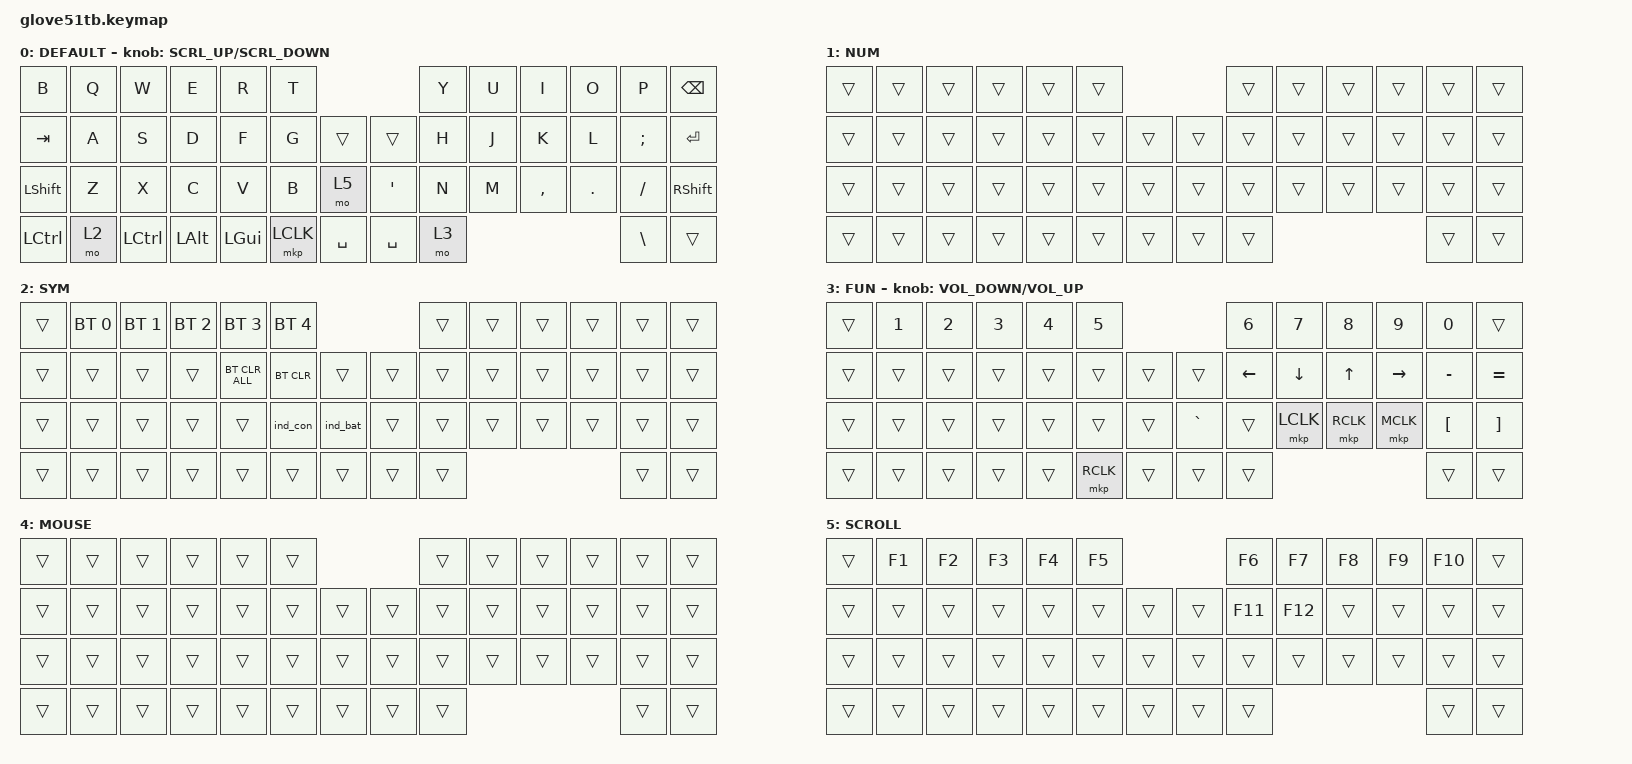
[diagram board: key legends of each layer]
#define ZMK_POINTING_DEFAULT_SCRL_VAL 150

#include <behaviors/rgbled_widget.dtsi>
#include <dt-bindings/zmk/input_transform.h>
#include <input/processors.dtsi>
#include <zephyr/dt-bindings/input/input-event-codes.h>
#include <behaviors.dtsi>
#include <dt-bindings/zmk/bt.h>
#include <dt-bindings/zmk/keys.h>
#include <dt-bindings/zmk/pointing.h>

// Layer Numbering

#define DEFAULT 0
#define NUM     1
#define SYM     2
#define FUN     3
#define MOUSE   4
#define SCROLL  5

&mmv {
    delay-ms = <20>;
    trigger-period-ms = <5>;
    time-to-max-speed-ms = <100>;
    acceleration-exponent = <2>;
};

&msc {
    delay-ms = <3>;
    trigger-period-ms = <3>;
    time-to-max-speed-ms = <100>;
    acceleration-exponent = <0>;
};

/ {
    input_processors {
        zip_wheel_scaler: zip_wheel_scaler {
            compatible = "zmk,input-processor-scaler";
            #input-processor-cells = <2>;
            type = <INPUT_EV_REL>;
            codes = <INPUT_REL_WHEEL>;
            track-remainders;
        };
    };
};

/ {
    combos {
        compatible = "zmk,combos";

        scroll {
            bindings = <&mo 5>;
            key-positions = <35 36>;
        };
    };

    behaviors {
        sensor_rotate_kp: sensor_rotate_kp {
            compatible = "zmk,behavior-sensor-rotate-var";
            #sensor-binding-cells = <2>;
            bindings = <&kp>, <&kp>;
        };

        mouse_wheel_scroll: mouse_wheel_scroll {
            compatible = "zmk,behavior-sensor-rotate-var";
            #sensor-binding-cells = <2>;
            bindings = <&msc>, <&msc>;

            tap-ms = <20>;
        };
    };

    keymap {
        compatible = "zmk,keymap";

        default_layer {
            label = "DEFAULT";
            bindings = <
&kp B             &kp Q  &kp W             &kp E         &kp R         &kp T                                   &kp Y  &kp U  &kp I      &kp O    &kp P          &kp BSPC
&kp TAB           &kp A  &kp S             &kp D         &kp F         &kp G      &trans     &trans            &kp H  &kp J  &kp K      &kp L    &kp SEMI       &kp RETURN
&kp LEFT_SHIFT    &kp Z  &kp X             &kp C         &kp V         &kp B      &mo 5      &kp SINGLE_QUOTE  &kp N  &kp M  &kp COMMA  &kp DOT  &kp FSLH       &kp RIGHT_SHIFT
&kp LEFT_CONTROL  &mo 2  &kp LEFT_CONTROL  &kp LEFT_ALT  &kp LEFT_GUI  &mkp LCLK  &kp SPACE  &kp SPACE         &mo 3                             &kp BACKSLASH  &trans
            >;

            sensor-bindings = <&mouse_wheel_scroll SCRL_UP SCRL_DOWN>;
        };

        number_layer {
            label = "NUM";
            bindings = <
&trans  &trans  &trans  &trans  &trans  &trans                  &trans  &trans  &trans  &trans  &trans  &trans
&trans  &trans  &trans  &trans  &trans  &trans  &trans  &trans  &trans  &trans  &trans  &trans  &trans  &trans
&trans  &trans  &trans  &trans  &trans  &trans  &trans  &trans  &trans  &trans  &trans  &trans  &trans  &trans
&trans  &trans  &trans  &trans  &trans  &trans  &trans  &trans  &trans                          &trans  &trans
            >;
        };

        symbol_layer {
            label = "SYM";
            bindings = <
&trans  &bt BT_SEL 0  &bt BT_SEL 1  &bt BT_SEL 2  &bt BT_SEL 3    &bt BT_SEL 4                    &trans  &trans  &trans  &trans  &trans  &trans
&trans  &trans        &trans        &trans        &bt BT_CLR_ALL  &bt BT_CLR    &trans    &trans  &trans  &trans  &trans  &trans  &trans  &trans
&trans  &trans        &trans        &trans        &trans          &ind_con      &ind_bat  &trans  &trans  &trans  &trans  &trans  &trans  &trans
&trans  &trans        &trans        &trans        &trans          &trans        &trans    &trans  &trans                          &trans  &trans
            >;
        };

        function_layer {
            label = "FUN";
            bindings = <
&trans  &kp NUMBER_1  &kp NUMBER_2  &kp NUMBER_3  &kp NUMBER_4  &kp NUMBER_5                     &kp NUMBER_6    &kp NUMBER_7    &kp NUMBER_8  &kp NUMBER_9     &kp NUMBER_0      &trans
&trans  &trans        &trans        &trans        &trans        &trans        &trans  &trans     &kp LEFT_ARROW  &kp DOWN_ARROW  &kp UP_ARROW  &kp RIGHT_ARROW  &kp MINUS         &kp EQUAL
&trans  &trans        &trans        &trans        &trans        &trans        &trans  &kp GRAVE  &trans          &mkp LCLK       &mkp RCLK     &mkp MCLK        &kp LEFT_BRACKET  &kp RIGHT_BRACKET
&trans  &trans        &trans        &trans        &trans        &mkp RCLK     &trans  &trans     &trans                                                         &trans            &trans
            >;

            sensor-bindings = <&sensor_rotate_kp C_VOLUME_DOWN C_VOLUME_UP>;
        };

        mouse_layer {
            label = "MOUSE";
            bindings = <
&trans  &trans  &trans  &trans  &trans  &trans                  &trans  &trans  &trans  &trans  &trans  &trans
&trans  &trans  &trans  &trans  &trans  &trans  &trans  &trans  &trans  &trans  &trans  &trans  &trans  &trans
&trans  &trans  &trans  &trans  &trans  &trans  &trans  &trans  &trans  &trans  &trans  &trans  &trans  &trans
&trans  &trans  &trans  &trans  &trans  &trans  &trans  &trans  &trans                          &trans  &trans
            >;
        };

        scroll_layer {
            label = "SCROLL";
            bindings = <
&trans  &kp F1  &kp F2  &kp F3  &kp F4  &kp F5                  &kp F6   &kp F7   &kp F8  &kp F9  &kp F10  &trans
&trans  &trans  &trans  &trans  &trans  &trans  &trans  &trans  &kp F11  &kp F12  &trans  &trans  &trans   &trans
&trans  &trans  &trans  &trans  &trans  &trans  &trans  &trans  &trans   &trans   &trans  &trans  &trans   &trans
&trans  &trans  &trans  &trans  &trans  &trans  &trans  &trans  &trans                            &trans   &trans
            >;
        };
    };
};
